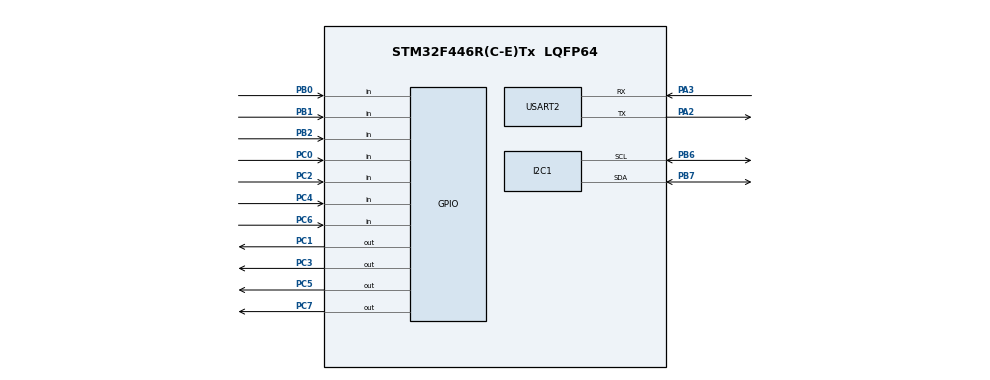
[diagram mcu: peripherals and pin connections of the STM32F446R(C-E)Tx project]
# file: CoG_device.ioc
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I2C1.I2C_Mode=I2C_Fast
Mcu.Family=STM32F4
Mcu.Name=STM32F446R(C-E)Tx
Mcu.Package=LQFP64
NVIC.PriorityGroup=NVIC_PRIORITYGROUP_4
PA2.Mode=Asynchronous
PA2.Signal=USART2_TX
PA3.Mode=Asynchronous
PA3.Signal=USART2_RX
PB0.Signal=GPIO_Input
PB1.Signal=GPIO_Input
PB2.Signal=GPIO_Input
PB6.Mode=I2C
PB6.Signal=I2C1_SCL
PB7.Mode=I2C
PB7.Signal=I2C1_SDA
PC0.Signal=GPIO_Input
PC1.Signal=GPIO_Output
PC2.Signal=GPIO_Input
PC3.Signal=GPIO_Output
PC4.Signal=GPIO_Input
PC5.Signal=GPIO_Output
PC6.Signal=GPIO_Input
PC7.Signal=GPIO_Output
ProjectManager.HeapSize=0x200
ProjectManager.StackSize=0x400
ProjectManager.TargetToolchain=STM32CubeIDE
RCC.CortexFreq_Value=16000000
RCC.USBFreq_Value=96000000
RCC.VCOOutputFreq_Value=192000000
USART2.VirtualMode=VM_ASYNC
board=custom

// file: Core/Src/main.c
/* USER CODE BEGIN Header */
/**
  ******************************************************************************
  * @file           : main.c
  * @brief          : Main program body
  ******************************************************************************
  * @attention
  *
  * Copyright (c) 2025 STMicroelectronics.
  * All rights reserved.
  *
  * This software is licensed under terms that can be found in the LICENSE file
  * in the root directory of this software component.
  * If no LICENSE file comes with this software, it is provided AS-IS.
  *
  ******************************************************************************
  */

#include "mma845x.h"
#include <math.h>

/* USER CODE END Header */
#include "main.h"

I2C_HandleTypeDef hi2c1;

UART_HandleTypeDef huart2;

void SystemClock_Config(void);
static void MX_GPIO_Init(void);
static void MX_I2C1_Init(void);
static void MX_USART2_UART_Init(void);

/* USER CODE BEGIN 0 */

void HX711_delay_us(uint32_t us)
{
    // 需要微秒級延遲，可以用 Timer 或簡單迴圈微調
    for (volatile uint32_t i = 0; i < us * 8; i++);
}

int32_t HX711_Read(void, GPIO_TypeDef* HX711_DT_GPIO_Port, uint16_t HX711_DT_Pin, GPIO_TypeDef* HX711_SCK_GPIO_Port, uint16_t HX711_SCK_Pin)
{
    int32_t count = 0;
    uint8_t i;

    // 等待 DOUT 變低，表示資料可讀
    while(HAL_GPIO_ReadPin(HX711_DT_GPIO_Port, HX711_DT_Pin));

    for (i = 0; i < 24; i++)
    {
        HAL_GPIO_WritePin(HX711_SCK_GPIO_Port, HX711_SCK_Pin, GPIO_PIN_SET);
        HX711_delay_us(1);

        count = count << 1;
        if (HAL_GPIO_ReadPin(HX711_DT_GPIO_Port, HX711_DT_Pin))
            count++;

        HAL_GPIO_WritePin(HX711_SCK_GPIO_Port, HX711_SCK_Pin, GPIO_PIN_RESET);
        HX711_delay_us(1);
    }

    // 第25個時脈：設定增益 (這裡預設 128)
    HAL_GPIO_WritePin(HX711_SCK_GPIO_Port, HX711_SCK_Pin, GPIO_PIN_SET);
    HX711_delay_us(1);
    HAL_GPIO_WritePin(HX711_SCK_GPIO_Port, HX711_SCK_Pin, GPIO_PIN_RESET);
    HX711_delay_us(1);

    // 轉成補數
    count ^= 0x800000;
    return count;
}

/* USER CODE END 0 */

int main(void)
{

  /* MCU Configuration--------------------------------------------------------*/

  /* Reset of all peripherals, Initializes the Flash interface and the Systick. */
  HAL_Init();

  /* Configure the system clock */
  SystemClock_Config();

  /* Initialize all configured peripherals */
  MX_GPIO_Init();
  MX_I2C1_Init();
  MX_USART2_UART_Init();

  /* Infinite loop */
  while (1)
  {

  }
}

void SystemClock_Config(void)
{
  RCC_OscInitTypeDef RCC_OscInitStruct = {0};
  RCC_ClkInitTypeDef RCC_ClkInitStruct = {0};

  /** Configure the main internal regulator output voltage
  */
  __HAL_RCC_PWR_CLK_ENABLE();
  __HAL_PWR_VOLTAGESCALING_CONFIG(PWR_REGULATOR_VOLTAGE_SCALE3);

  /** Initializes the RCC Oscillators according to the specified parameters
  * in the RCC_OscInitTypeDef structure.
  */
  RCC_OscInitStruct.OscillatorType = RCC_OSCILLATORTYPE_HSI;
  RCC_OscInitStruct.HSIState = RCC_HSI_ON;
  RCC_OscInitStruct.HSICalibrationValue = RCC_HSICALIBRATION_DEFAULT;
  RCC_OscInitStruct.PLL.PLLState = RCC_PLL_NONE;
  if (HAL_RCC_OscConfig(&RCC_OscInitStruct) != HAL_OK)
  {
    Error_Handler();
  }

  /** Initializes the CPU, AHB and APB buses clocks
  */
  RCC_ClkInitStruct.ClockType = RCC_CLOCKTYPE_HCLK|RCC_CLOCKTYPE_SYSCLK
                              |RCC_CLOCKTYPE_PCLK1|RCC_CLOCKTYPE_PCLK2;
  RCC_ClkInitStruct.SYSCLKSource = RCC_SYSCLKSOURCE_HSI;
  RCC_ClkInitStruct.AHBCLKDivider = RCC_SYSCLK_DIV1;
  RCC_ClkInitStruct.APB1CLKDivider = RCC_HCLK_DIV1;
  RCC_ClkInitStruct.APB2CLKDivider = RCC_HCLK_DIV1;

  if (HAL_RCC_ClockConfig(&RCC_ClkInitStruct, FLASH_LATENCY_0) != HAL_OK)
  {
    Error_Handler();
  }
}

static void MX_I2C1_Init(void)
{

  hi2c1.Instance = I2C1;
  hi2c1.Init.ClockSpeed = 400000;
  hi2c1.Init.DutyCycle = I2C_DUTYCYCLE_2;
  hi2c1.Init.OwnAddress1 = 0;
  hi2c1.Init.AddressingMode = I2C_ADDRESSINGMODE_7BIT;
  hi2c1.Init.DualAddressMode = I2C_DUALADDRESS_DISABLE;
  hi2c1.Init.OwnAddress2 = 0;
  hi2c1.Init.GeneralCallMode = I2C_GENERALCALL_DISABLE;
  hi2c1.Init.NoStretchMode = I2C_NOSTRETCH_DISABLE;
  if (HAL_I2C_Init(&hi2c1) != HAL_OK)
  {
    Error_Handler();
  }

}

static void MX_USART2_UART_Init(void)
{

  huart2.Instance = USART2;
  huart2.Init.BaudRate = 115200;
  huart2.Init.WordLength = UART_WORDLENGTH_8B;
  huart2.Init.StopBits = UART_STOPBITS_1;
  huart2.Init.Parity = UART_PARITY_NONE;
  huart2.Init.Mode = UART_MODE_TX_RX;
  huart2.Init.HwFlowCtl = UART_HWCONTROL_NONE;
  huart2.Init.OverSampling = UART_OVERSAMPLING_16;
  if (HAL_UART_Init(&huart2) != HAL_OK)
  {
    Error_Handler();
  }

}

static void MX_GPIO_Init(void)
{
  GPIO_InitTypeDef GPIO_InitStruct = {0};

  /* GPIO Ports Clock Enable */
  __HAL_RCC_GPIOC_CLK_ENABLE();
  __HAL_RCC_GPIOA_CLK_ENABLE();
  __HAL_RCC_GPIOB_CLK_ENABLE();

  /*Configure GPIO pin Output Level */
  HAL_GPIO_WritePin(GPIOC, GPIO_PIN_1|GPIO_PIN_3|GPIO_PIN_5|GPIO_PIN_7, GPIO_PIN_RESET);

  /*Configure GPIO pins : PC0 PC2 PC4 PC6 */
  GPIO_InitStruct.Pin = GPIO_PIN_0|GPIO_PIN_2|GPIO_PIN_4|GPIO_PIN_6;
  GPIO_InitStruct.Mode = GPIO_MODE_INPUT;
  GPIO_InitStruct.Pull = GPIO_NOPULL;
  HAL_GPIO_Init(GPIOC, &GPIO_InitStruct);

  /*Configure GPIO pins : PC1 PC3 PC5 PC7 */
  GPIO_InitStruct.Pin = GPIO_PIN_1|GPIO_PIN_3|GPIO_PIN_5|GPIO_PIN_7;
  GPIO_InitStruct.Mode = GPIO_MODE_OUTPUT_PP;
  GPIO_InitStruct.Pull = GPIO_NOPULL;
  GPIO_InitStruct.Speed = GPIO_SPEED_FREQ_LOW;
  HAL_GPIO_Init(GPIOC, &GPIO_InitStruct);

  /*Configure GPIO pins : PB0 PB1 PB2 */
  GPIO_InitStruct.Pin = GPIO_PIN_0|GPIO_PIN_1|GPIO_PIN_2;
  GPIO_InitStruct.Mode = GPIO_MODE_INPUT;
  GPIO_InitStruct.Pull = GPIO_NOPULL;
  HAL_GPIO_Init(GPIOB, &GPIO_InitStruct);

}

void Error_Handler(void)
{
  __disable_irq();
  while (1)
  {
  }
}
